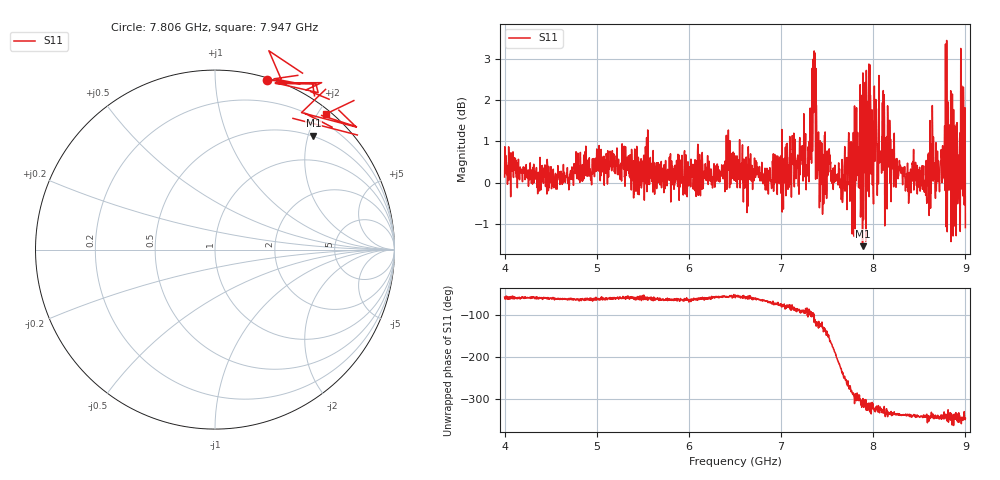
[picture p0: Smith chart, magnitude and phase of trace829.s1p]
! Created with skrf 1.8.0 (http://scikit-rf.org).
# Hz S RI R 50.0
!freq ReS11 ImS11
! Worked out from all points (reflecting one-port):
!   1601 points, 4 GHz to 9 GHz, reference 50 ohm
!   lowest |S11| = -1.5 dB at 7.884 GHz (marker M1), VSWR 11.37, Z = 24.5 + j105 ohm
!   phase of S11 starts at -57 deg and turns -288 deg over the sweep
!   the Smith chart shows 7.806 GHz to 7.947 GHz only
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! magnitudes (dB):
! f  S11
! 4 GHz  0.1
! 4.625 GHz  0.0
! 5.25 GHz  0.2
! 5.875 GHz  0.3
! 6.5 GHz  0.5
! 6.875 GHz  0.3
! 7.125 GHz  0.8
! 7.278 GHz  0.2
! 7.359 GHz  3.2
! 7.397 GHz  0.5
! 7.441 GHz  1.0
! 7.75 GHz  -0.3
! 7.788 GHz  0.3
! 7.834 GHz  0.2
! 7.884 GHz  -1.5
! 7.95 GHz  2.1
! 7.981 GHz  0.4
! 8.038 GHz  1.3
! 8.066 GHz  0.8
! 8.097 GHz  1.1
! 8.375 GHz  0.3
! 8.584 GHz  0.4
! 8.656 GHz  0.6
! 8.697 GHz  0.8
! 8.788 GHz  -0.6
! 8.875 GHz  0.3
! 8.972 GHz  1.1
! 9 GHz  -1.1
